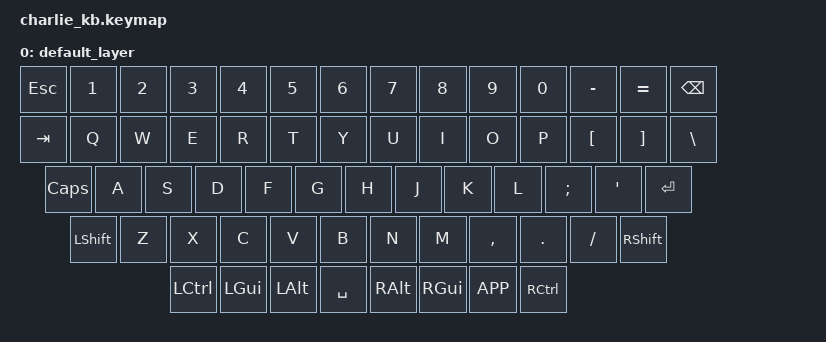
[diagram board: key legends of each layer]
// This file was generated from a template. Edit it to match your keyboard.
// See https://zmk.dev/docs/development/hardware-integration/new-shield for more instructions.

#include <behaviors.dtsi>
#include <dt-bindings/zmk/keys.h>

/ {
    keymap {
        compatible = "zmk,keymap";
        default_layer {
            bindings = <
                &kp ESC &kp N1 &kp N2 &kp N3 &kp N4 &kp N5 &kp N6 &kp N7 &kp N8 &kp N9 &kp N0 &kp MINUS &kp EQUAL &kp BSPC
                &kp TAB  &kp Q  &kp W  &kp E  &kp R  &kp T  &kp Y  &kp U  &kp I  &kp O  &kp P  &kp LBKT  &kp RBKT  &kp BSLH
                &kp CLCK  &kp A  &kp S  &kp D  &kp F  &kp G  &kp H  &kp J  &kp K  &kp L  &kp SEMI &kp SQT           &kp RET
                &kp LSHFT      &kp Z  &kp X  &kp C  &kp V  &kp B  &kp N  &kp M  &kp COMMA &kp DOT &kp FSLH         &kp RSHFT
                &kp LCTRL &kp LGUI &kp LALT             &kp SPACE                     &kp RALT &kp RGUI &kp K_APP &kp RCTRL
            >;
        };
    };
};
